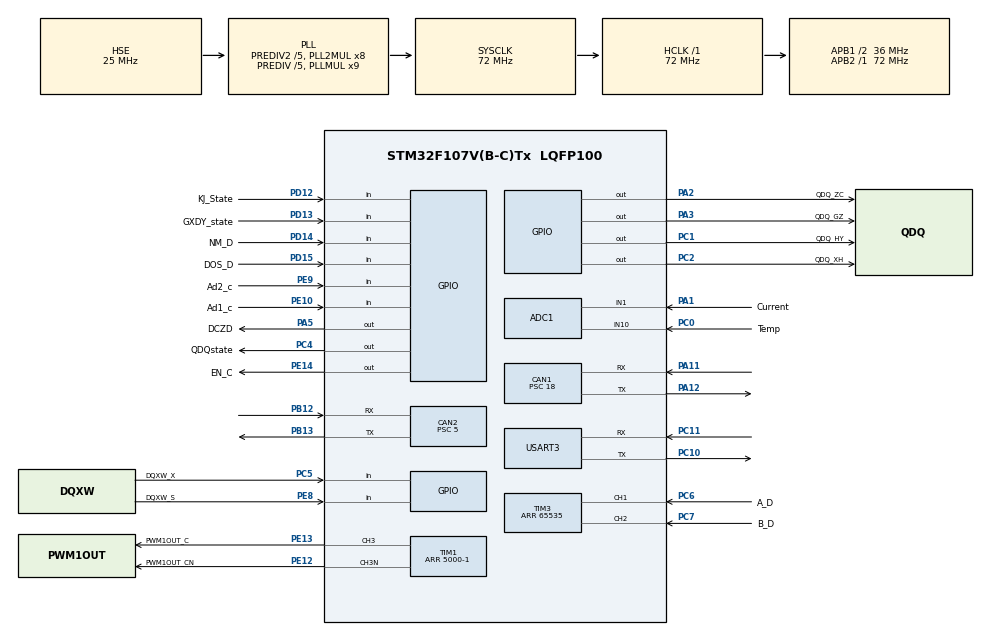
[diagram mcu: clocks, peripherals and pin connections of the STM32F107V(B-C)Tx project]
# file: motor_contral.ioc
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ADC1.Channel-0\#ChannelRegularConversion=ADC_CHANNEL_1
ADC1.Channel-1\#ChannelRegularConversion=ADC_CHANNEL_10
ADC1.ContinuousConvMode=ENABLE
ADC1.DataAlign=ADC_DATAALIGN_RIGHT
ADC1.DiscontinuousConvMode=DISABLE
ADC1.EnableAnalogWatchDog=false
ADC1.EnableRegularConversion=ENABLE
ADC1.ExternalTrigConvEdgeChoice=NONE
ADC1.InjNumberOfConversion=0
ADC1.NbrOfConversion=2
ADC1.NbrOfConversionFlag=1
ADC1.Rank-0\#ChannelRegularConversion=1
ADC1.Rank-1\#ChannelRegularConversion=2
ADC1.SamplingTime-0\#ChannelRegularConversion=ADC_SAMPLETIME_28CYCLES_5
ADC1.SamplingTime-1\#ChannelRegularConversion=ADC_SAMPLETIME_28CYCLES_5
ADC1.ScanConvMode=ADC_SCAN_ENABLE
ADC1.master=1
CAN1.BS1=CAN_BS1_6TQ
CAN1.BS2=CAN_BS2_1TQ
CAN1.CalculateTimeBit=4000
CAN1.CalculateTimeQuantum=500.0
CAN1.NART=DISABLE
CAN1.Prescaler=18
CAN1.SJW=CAN_SJW_1TQ
CAN2.BS1=CAN_BS1_5TQ
CAN2.BS2=CAN_BS2_3TQ
CAN2.CalculateTimeBit=1250
CAN2.CalculateTimeQuantum=138.88888888888889
CAN2.Prescaler=5
CAN2.SJW=CAN_SJW_2TQ
Dma.ADC1.0.Direction=DMA_PERIPH_TO_MEMORY
Dma.ADC1.0.Instance=DMA1_Channel1
Dma.ADC1.0.MemDataAlignment=DMA_MDATAALIGN_WORD
Dma.ADC1.0.MemInc=DMA_MINC_ENABLE
Dma.ADC1.0.Mode=DMA_CIRCULAR
Dma.ADC1.0.PeriphDataAlignment=DMA_PDATAALIGN_WORD
Dma.ADC1.0.PeriphInc=DMA_PINC_DISABLE
Dma.ADC1.0.Priority=DMA_PRIORITY_MEDIUM
Dma.Request0=ADC1
Mcu.Family=STM32F1
Mcu.Name=STM32F107V(B-C)Tx
Mcu.Package=LQFP100
NVIC.CAN1_RX0_IRQn=true\:0\:0\:false\:false\:true\:true
NVIC.CAN2_RX0_IRQn=true\:3\:0\:true\:false\:true\:true
NVIC.DMA1_Channel1_IRQn=true\:0\:0\:false\:false\:true\:true
NVIC.PriorityGroup=NVIC_PRIORITYGROUP_4
NVIC.TIM6_IRQn=true\:1\:0\:true\:false\:true\:true
NVIC.USART3_IRQn=true\:2\:0\:true\:false\:true\:true
OSC_IN.Mode=HSE-External-Oscillator
OSC_IN.Signal=RCC_OSC_IN
OSC_OUT.Mode=HSE-External-Oscillator
OSC_OUT.Signal=RCC_OSC_OUT
PA1.GPIO_Label=Current
PA1.Signal=ADCx_IN1
PA11.GPIO_PuPd=GPIO_PULLUP
PA11.Mode=Master
PA11.Signal=CAN1_RX
PA12.Mode=Master
PA12.Signal=CAN1_TX
PA13.Mode=JTAG_4_pins
PA13.Signal=SYS_JTMS-SWDIO
PA14.Mode=JTAG_4_pins
PA14.Signal=SYS_JTCK-SWCLK
PA15.Mode=JTAG_4_pins
PA15.Signal=SYS_JTDI
PA2.GPIO_Label=QDQ_ZC
PA2.Signal=GPIO_Output
PA3.GPIO_Label=QDQ_GZ
PA3.GPIO_Speed=GPIO_SPEED_FREQ_MEDIUM
PA3.Signal=GPIO_Output
PA5.GPIO_Label=DCZD
PA5.GPIO_Speed=GPIO_SPEED_FREQ_MEDIUM
PA5.Signal=GPIO_Output
PB12.GPIO_PuPd=GPIO_PULLUP
PB12.Mode=Slave
PB12.Signal=CAN2_RX
PB13.Mode=Slave
PB13.Signal=CAN2_TX
PB3.Mode=JTAG_4_pins
PB3.Signal=SYS_JTDO
PC0.GPIO_Label=Temp
PC0.Signal=ADCx_IN10
PC1.GPIO_Label=QDQ_HY
PC1.Signal=GPIO_Output
PC10.Mode=Asynchronous
PC10.Signal=USART3_TX
PC11.Mode=Asynchronous
PC11.Signal=USART3_RX
PC2.GPIO_Label=QDQ_XH
PC2.Signal=GPIO_Output
PC4.GPIO_Label=QDQstate
PC4.GPIO_Speed=GPIO_SPEED_FREQ_MEDIUM
PC4.Signal=GPIO_Output
PC5.GPIO_Label=DQXW_X
PC5.Signal=GPIO_Input
PC6.GPIO_Label=A_D
PC6.Signal=S_TIM3_CH1
PC7.GPIO_Label=B_D
PC7.Signal=S_TIM3_CH2
PD12.GPIO_Label=KJ_State
PD12.Signal=GPIO_Input
PD13.GPIO_Label=GXDY_state
PD13.Signal=GPIO_Input
PD14.GPIO_Label=NM_D
PD14.Signal=GPIO_Input
PD15.GPIO_Label=DOS_D
PD15.Signal=GPIO_Input
PE10.GPIO_Label=Ad1_c
PE10.Signal=GPIO_Input
PE12.GPIO_Label=PWM1OUT_CN
PE12.GPIO_Speed=GPIO_SPEED_FREQ_HIGH
PE12.Mode=PWM Generation3 CH3 CH3N
PE12.Signal=TIM1_CH3N
PE13.GPIO_Label=PWM1OUT_C
PE13.GPIO_Speed=GPIO_SPEED_FREQ_HIGH
PE13.Signal=S_TIM1_CH3
PE14.GPIO_Label=EN_C
PE14.GPIO_Speed=GPIO_SPEED_FREQ_MEDIUM
PE14.Signal=GPIO_Output
PE8.GPIO_Label=DQXW_S
PE8.Signal=GPIO_Input
PE9.GPIO_Label=Ad2_c
PE9.Signal=GPIO_Input
ProjectManager.HeapSize=0x200
ProjectManager.StackSize=0x400
ProjectManager.TargetToolchain=EWARM
RCC.ADCPresc=RCC_ADCPCLK2_DIV6
RCC.AHBFreq_Value=72000000
RCC.APB1CLKDivider=RCC_HCLK_DIV2
RCC.APB1Freq_Value=36000000
RCC.APB1TimFreq_Value=72000000
RCC.APB2Freq_Value=72000000
RCC.APB2TimFreq_Value=72000000
RCC.HCLKFreq_Value=72000000
RCC.HSEDivPLL=RCC_HSE_PREDIV_DIV5
RCC.HSE_VALUE=25000000
RCC.PLLMUL=RCC_PLL_MUL9
RCC.PLLSourceVirtual=RCC_PLLSOURCE_HSE
RCC.Prediv1Source=RCC_PREDIV1_SOURCE_PLL2
RCC.Prediv2=RCC_HSE_PREDIV2_DIV5
RCC.SYSCLKFreq_VALUE=72000000
RCC.SYSCLKSource=RCC_SYSCLKSOURCE_PLLCLK
RCC.USBFreq_Value=48000000
SH.ADCx_IN1.0=ADC1_IN1,IN1
SH.ADCx_IN10.0=ADC1_IN10,IN10
SH.S_TIM1_CH3.0=TIM1_CH3,PWM Generation3 CH3 CH3N
SH.S_TIM3_CH1.0=TIM3_CH1,Encoder_Interface
SH.S_TIM3_CH2.0=TIM3_CH2,Encoder_Interface
TIM1.AutomaticOutput=TIM_AUTOMATICOUTPUT_ENABLE
TIM1.Channel-PWM\ Generation3\ CH3\ CH3N=TIM_CHANNEL_3
TIM1.DeadTime=40
TIM1.LockLevel=TIM_LOCKLEVEL_1
TIM1.OCIdleState_3=TIM_OCIDLESTATE_RESET
TIM1.OCMode_PWM-PWM\ Generation3\ CH3\ CH3N=TIM_OCMODE_PWM2
TIM1.OffStateIDLEMode=TIM_OSSI_ENABLE
TIM1.OffStateRunMode=TIM_OSSR_ENABLE
TIM1.Period=5000-1
TIM1.Pulse-PWM\ Generation3\ CH3\ CH3N=2500
TIM3.EncoderMode=TIM_ENCODERMODE_TI12
TIM3.IC1Filter=8
TIM3.IC2Filter=8
TIM3.Period=65535
TIM6.Period=10
TIM6.Prescaler=7200-1
USART3.VirtualMode=VM_ASYNC
VP_TIM1_VS_ClockSourceINT.Mode=Internal
VP_TIM6_VS_ClockSourceINT.Mode=Enable_Timer
board=motor_contral

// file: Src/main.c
/**
  ******************************************************************************
  * File Name          : main.c
  * Description        : Main program body
  ******************************************************************************
  *
  * COPYRIGHT(c) 2016 STMicroelectronics
  *
  * Redistribution and use in source and binary forms, with or without modification,
  * are permitted provided that the following conditions are met:
  *   1. Redistributions of source code must retain the above copyright notice,
  *      this list of conditions and the following disclaimer.
  *   2. Redistributions in binary form must reproduce the above copyright notice,
  *      this list of conditions and the following disclaimer in the documentation
  *      and/or other materials provided with the distribution.
  *   3. Neither the name of STMicroelectronics nor the names of its contributors
  *      may be used to endorse or promote products derived from this software
  *      without specific prior written permission.
  *
  * THIS SOFTWARE IS PROVIDED BY THE COPYRIGHT HOLDERS AND CONTRIBUTORS "AS IS"
  * AND ANY EXPRESS OR IMPLIED WARRANTIES, INCLUDING, BUT NOT LIMITED TO, THE
  * IMPLIED WARRANTIES OF MERCHANTABILITY AND FITNESS FOR A PARTICULAR PURPOSE ARE
  * DISCLAIMED. IN NO EVENT SHALL THE COPYRIGHT HOLDER OR CONTRIBUTORS BE LIABLE
  * FOR ANY DIRECT, INDIRECT, INCIDENTAL, SPECIAL, EXEMPLARY, OR CONSEQUENTIAL
  * DAMAGES (INCLUDING, BUT NOT LIMITED TO, PROCUREMENT OF SUBSTITUTE GOODS OR
  * SERVICES; LOSS OF USE, DATA, OR PROFITS; OR BUSINESS INTERRUPTION) HOWEVER
  * CAUSED AND ON ANY THEORY OF LIABILITY, WHETHER IN CONTRACT, STRICT LIABILITY,
  * OR TORT (INCLUDING NEGLIGENCE OR OTHERWISE) ARISING IN ANY WAY OUT OF THE USE
  * OF THIS SOFTWARE, EVEN IF ADVISED OF THE POSSIBILITY OF SUCH DAMAGE.
  *
  ******************************************************************************
  */
#include "stm32f1xx_hal.h"

/* USER CODE BEGIN Includes */

#include "tim.h"
#include "adc.h"
#include "can.h"
#include "usart.h"
#include "user.h"
#include "flash.h"

#include "motor.h"
#include "motor_private.h"
/* USER CODE END Includes */

ADC_HandleTypeDef hadc1;
DMA_HandleTypeDef hdma_adc1;

CAN_HandleTypeDef hcan1;
CAN_HandleTypeDef hcan2;

TIM_HandleTypeDef htim1;
TIM_HandleTypeDef htim3;
TIM_HandleTypeDef htim6;

UART_HandleTypeDef huart3;

/* USER CODE BEGIN PV */
/* Private variables ---------------------------------------------------------*/
uint16_t PWMOUT=2500;
int32_t  POSITION;
int32_t  SGWY;
uint8_t  CNM = 0;
uint8_t  Big_T_Count = 0;
uint8_t  Fault_Upgrade_Count = 0;
uint8_t  Alarm_Upgrade_Count = 0;
uint8_t  Upgrade_Count = 1;

int32_t A=0;//电流
uint8_t B=0;//温度

System_Angle_ErrorTypeDef            ENC_SPEED;
System_Angle_ErrorTypeDef            ENC_POSITION;
System_PWM_TypeDef                   Dspace_PWM;

extern uint8_t WorkingMode;
extern uint8_t Test_Mode;
extern uint8_t Showing_Angle;            //检视模式幅值
extern uint8_t Showing_T;                //检视模式周期
extern uint8_t Electronic_Limit_Touch;   //是否检测过限位 0为检测过 1检测过上限位 2检测过下限位
/* USER CODE END PV */

void SystemClock_Config(void);
void Error_Handler(void);
static void MX_GPIO_Init(void);
static void MX_DMA_Init(void);
static void MX_ADC1_Init(void);
static void MX_CAN1_Init(void);
static void MX_CAN2_Init(void);
static void MX_TIM1_Init(void);
static void MX_TIM3_Init(void);
static void MX_USART3_UART_Init(void);
static void MX_TIM6_Init(void);

void HAL_TIM_MspPostInit(TIM_HandleTypeDef *htim);

/* USER CODE BEGIN PFP */
/* Private function prototypes -----------------------------------------------*/

/* USER CODE END PFP */

int main(void)
{

  /* MCU Configuration----------------------------------------------------------*/

  /* Reset of all peripherals, Initializes the Flash interface and the Systick. */
  HAL_Init();

  /* Configure the system clock */
  SystemClock_Config();

  /* Initialize all configured peripherals */
  MX_GPIO_Init();
  MX_DMA_Init();
  MX_ADC1_Init();
  MX_CAN1_Init();
  MX_CAN2_Init();
  MX_TIM1_Init();
  MX_TIM3_Init();
  MX_USART3_UART_Init();
  MX_TIM6_Init();

  /* USER CODE BEGIN 2 */
  /***************************系统时钟******************************************/
  SysTick_Init();

   /**************高电磁制动打开,低电磁制动抱死*********************************/
 HAL_GPIO_WritePin(GPIOA,DCZD_Pin, GPIO_PIN_SET);

 /*********************编码器*************************************************/
  /******此处顺序不要改动，先开启定时器，初始化旋变芯片，后开通编码器接口，不然数据有错********/
  HAL_TIM_Base_Start_IT(&htim6);                                              //开启定时器中断
  ENC_Init( );                                                                 //旋变初始化
  HAL_TIM_Base_Stop_IT(&htim6);                                                //关闭定时器中断
  HAL_TIM_Encoder_Start(&htim3, TIM_CHANNEL_ALL);                              //开启编码器

/*****************驱动器选型***************************************************/

    Motrol_Version_Init( );

/************************ADC(DMA)*********************************************/
  HAL_ADC_Start_DMA(&hadc1, &ADC_Receive[0][0], 120);    //开启ADC(DMA)
/******此处顺序不要改动，先开启定时器，初始化旋变芯片，后开通编码器接口，不然数据有错********/
/*************************开启PWM互补通道***************************************/
  HAL_TIM_PWM_Start(&htim1,TIM_CHANNEL_3);
  HAL_TIMEx_PWMN_Start(&htim1,TIM_CHANNEL_3);
/***************************电机失能*******************************************/
  HAL_GPIO_WritePin(EN_C_GPIO_Port, EN_C_Pin, GPIO_PIN_SET);

/***************************关键功能初始化完成，驱动器正常，引脚拉高*******************************************/
    HAL_GPIO_WritePin(GPIOC, QDQstate_Pin, GPIO_PIN_RESET);

/*******************************CAN*******************************************/
 USER_CanMsg_Init(&hcan1,&TxMessage1,&RxMessage1);                           //CAN1初始化：定义CAN1结构体变量
 USER_CanMsg_Init(&hcan2,&TxMessage2,&RxMessage2);                          //CAN2初始化：定义CAN2结构体变量
 USER_CanFilter_Init(&hcan1);                                              //设置CAN1滤波器（注：若有CAN2，需在CAN1滤波器函数体内添加）

  if (HAL_CAN_Receive_IT(&hcan1, CAN_FIFO0) != HAL_OK)
   { Flag_Error_Can1_R=0;  Error_Handler( ); }  //开启CAN1的接收中断 默认1正常，0错误
  if (HAL_CAN_Receive_IT(&hcan2, CAN_FIFO0) != HAL_OK)
  { Flag_Error_Can2_R=0;  Error_Handler( ); }  //开启CAN2的接收中断 默认1正常，0错误

/*******************************USART*******************************************/
  if (HAL_UART_Receive_IT(&huart3,RxData,1) != HAL_OK)
   { Flag_Error_Can2_R=0;  Error_Handler( ); }  //开启CUSART3的接收中断,默认1正常，0错误

  /***************************电机shi能*******************************************/
 HAL_GPIO_WritePin(GPIOA,DCZD_Pin, GPIO_PIN_RESET);
 HAL_GPIO_WritePin(EN_C_GPIO_Port, EN_C_Pin, GPIO_PIN_RESET);
// HAL_GPIO_WritePin(GPIOB, GPIO_PIN_5, GPIO_PIN_SET);
// HAL_GPIO_WritePin(GPIOA, GPIO_PIN_4, GPIO_PIN_SET);

motor_initialize( );
ENC_Zero_Init();
System_State.Data[0] = 0xff;
System_State.Data[1] = 0xff;
System_State_Last.Data[0] = 0xff;
System_State_Last.Data[1] = 0xff;
Dspace_PWM.Value = 2500;
  /* USER CODE END 2 */

  /* Infinite loop */
  /* USER CODE BEGIN WHILE */
  SysTick_Start(  );

  while (1)
  {
  /* USER CODE END WHILE */

  /* USER CODE BEGIN 3 */
/*==============================================================================
*****************************开始***********************************************
==============================================================================*/

/*==============================================================================
*****************************运行函数*******************************************
=========================================================================******/
//********************************PWM*******************************************/
//   TIM1->CCR3=PWMOUT;
/********************************编码器*******************************************/
    HAL_ADC_Start_DMA(&hadc1, &ADC_Receive[0][0], 120);                       //开启ADC(DMA)
    ENC_Position(  );

 /*=============================================================================
*****************************输入端口*******************************************
==============================================================================*/
/*****************系统指令输入****************************/
    motor_U.System_Order =  SYS_Order_Flag;
    motor_U.Working_Mode = WorkingMode;           //工作模式选择
    motor_U.Test_Mode = Test_Mode;                //调试模式选择
    motor_U.Showing_Angle = Showing_Angle;        //检视模式幅值
    motor_U.Showing_T = Showing_T;                //检视模式周期
    motor_U.Gyroscope_Choose = Gyroscope_Choose;  //陀螺仪信号源选择

/*****************片选信号****************************/
   motor_U.Motor_Num    =  Motor_Num;

/*****************电流采样输入****************************/
   motor_U.Cur_In       =  Current;
  // motor_U.Cur_In       =  2600;
/*****************温度采样输入****************************/
   motor_U.Temp_In      =  Temp;
//   motor_U.Temp_In       =  B;
/*****************上下限位开关输入****************************/
//  if(HAL_GPIO_ReadPin(GPIOE, DQXW_S_Pin)==GPIO_PIN_SET)
//  {
//    motor_U.Up_Limit     =  1;
//    }
//  if(HAL_GPIO_ReadPin(GPIOE, DQXW_S_Pin)==GPIO_PIN_RESET)
//  {
//    motor_U.Up_Limit     =  0;
//   }
//  if(HAL_GPIO_ReadPin(DQXW_X_GPIO_Port,DQXW_X_Pin)==GPIO_PIN_SET)
//   {
//   motor_U.Down_Limit   =   1;
//    }
//  if(HAL_GPIO_ReadPin(DQXW_X_GPIO_Port,DQXW_X_Pin)==GPIO_PIN_RESET)
//   {
//   motor_U.Down_Limit   =   0;
//    }
    if(HAL_GPIO_ReadPin(GPIOE, DQXW_S_Pin)==GPIO_PIN_SET)
    {
    motor_U.Up_Limit   =  1;
    }
    if(HAL_GPIO_ReadPin(GPIOE, DQXW_S_Pin)==GPIO_PIN_RESET)
    {
    motor_U.Up_Limit   =  0;
    }
    if(HAL_GPIO_ReadPin(DQXW_X_GPIO_Port,DQXW_X_Pin)==GPIO_PIN_SET)
    {
    motor_U.Down_Limit   =   1;
    }
    if(HAL_GPIO_ReadPin(DQXW_X_GPIO_Port,DQXW_X_Pin)==GPIO_PIN_RESET)
    {
    motor_U.Down_Limit   =   0;
    }
    /*********测试电缸上下电器限位的位置是否有改变2016/11/25********/
   if((motor_U.Up_Limit==0)&&(B==0))
   { A=PositionTemp2;
    motor_U.Encode_sxwPos_Motor =  A-586183/2 ;    //586183/2折算为 5度
     B=1;}
   else
   { B=0;}

/*****************电子限位角度更新****************************/
    //Electronic_Limit_refresh(motor_U.Up_Limit,motor_U.Down_Limit);

 /*****************惯性单元状态引脚输入****************************/
  if(HAL_GPIO_ReadPin(GPIOD,GXDY_state_Pin)==GPIO_PIN_SET)
   {
   motor_U.GXDY_State   =   1;
    }
  if(HAL_GPIO_ReadPin(GPIOD,GXDY_state_Pin)==GPIO_PIN_RESET)
   {
   motor_U.GXDY_State   =   0;
    }

  /*******************开机状态引脚输入(加到开关机判断)****************************/

  /*****************惯性单元中断输入****************************/
 //  motor_U.GXDY_IT_In   =  1 ; //临时测试用

  if ((Can2_R1==1)&&(Can2_R2==1))  //正常用
  {
   motor_U.GXDY_IT_In   =  1 ;
   Can2_R2              =  0 ;
  }
  else
  {
   motor_U.GXDY_IT_In   =  0 ;
  }

/*****************角度输入***********************************/
   motor_U.JD_In        =  Gyroscope_Angle.Value;

   motor_U.YJ_In        =  System_Elevation.Value;

  // motor_U.YJ_In        =  0;

/*****************编码器输入****************************/
   motor_U.Encode_Sp    =  MyTemp;
   motor_U.Encode_Pos_kj = PositionTemp2;
   motor_U.Encode_Pos_Zero_Average = ENC_position_zero_average.Value;

/***************丝杆位移(需具体处理)***********************/

   motor_U.SGWY_In    =  SGWY_Inport.Value;

/*==============================================================================
*****************************Simulink程序***************************************
==============================================================================*/
  motor_step( );

  if(A<motor_B.Motor_XHZY.Product&&((int)motor_B.Motor_XHZY.Product!=0))
    A=(int)motor_B.Motor_XHZY.Product ;

/*==============================================================================
*****************************输出端口*******************************************
==============================================================================*/
/*****************初始化结果****************************/
  Result_Handle.Init_Result        =   motor_Y.Ini_Result;
//  if(Result_Handle.Init_Result == 1) SYS_Order_Flag = 2;

 /*****************开关机结果****************************/
  Result_Handle.Start_Stop_Result  =   motor_Y.Open_Result;

 /*************************输出故障标识*****************************************/
  System_State.Bit.Trouble_Enc              =   motor_Y.Flag_Enc_Error;
  System_State.Bit.Angle_Up                 =   motor_Y.Flag_Up_GZ_limit;
  System_State.Bit.Angle_Down               =   motor_Y.Flag_Down_GZ_limit;
  System_State.Bit.Current_Fualt            =   motor_Y.Flag_GZ_Cur;
  System_State.Bit.Block_Motor              =   motor_Y.Flag_Motor_Error;
//  System_State.Bit.Over_Temp_Down         =   motor_Y.Flag_Temp_Down;
  System_State.Bit.Interrupt_Communication  =   motor_Y.Flag_GXDY_IT;

 /*************************输出警告标识*****************************************/
  System_State.Bit.Over_Electricity   =   motor_Y.Flag_Cur;
  System_State.Bit.Over_Temp_Up       =   motor_Y.Flag_Temp_Up;
  System_State.Bit.Abnormal_Data      =   motor_Y.Flag_GXDY_Error;
  System_State.Bit.Over_Angle_XXW     =   motor_Y.Flag_Down_limit;
  System_State.Bit.Over_Angle_SXW     =   motor_Y.Flag_Up_limit;
  System_State.Bit.Over_Angle_Error   =   motor_Y.Flag_AngleError;

/*************************输出I/O口控制*****************************************/
  /********DCZD引脚控制***********/
  if(motor_Y.DCZD == 1)
  {
    HAL_GPIO_WritePin(GPIOA, DCZD_Pin, GPIO_PIN_SET);
  }
  if(motor_Y.DCZD == 0)
     {
    HAL_GPIO_WritePin(GPIOA, DCZD_Pin, GPIO_PIN_RESET);
  }
   /********QDQ_XH,QDQ_HY引脚控制运行指示灯LED***********/
  /********QDQ_XH,QDQ_HY引脚控制LED,都低橘黄色***********/
        /********QDQ_HY低，LED红色***********/
        /********QDQ_XH低，LED绿色***********/
   if(motor_Y.QDQ_XH == 1)
   {
   HAL_GPIO_WritePin(GPIOC,QDQ_XH_Pin, GPIO_PIN_SET);
   }
  else
   {
   HAL_GPIO_WritePin(GPIOC,QDQ_XH_Pin, GPIO_PIN_RESET);
   }
   if(motor_Y.QDQ_HY == 1)
  {
   HAL_GPIO_WritePin(GPIOC, QDQ_HY_Pin, GPIO_PIN_SET);
   }
  else
  {
   HAL_GPIO_WritePin(GPIOC, QDQ_HY_Pin, GPIO_PIN_RESET);
  }

   /********EN_C引脚控制***********/
  if(motor_Y.Motor_En == 1)
  {
  HAL_GPIO_WritePin(EN_C_GPIO_Port, EN_C_Pin, GPIO_PIN_SET);
  }
    if(motor_Y.Motor_En == 0)
  {
  HAL_GPIO_WritePin(EN_C_GPIO_Port, EN_C_Pin, GPIO_PIN_RESET);
  }

/*********************输出驱动器状态标识*****************************/
  /**********************故障主动上报******************************/

     /**************主动上报信息(需具体处理)***************/
  // Alarm_Cunt   =   motor_Y.Alarm_Cunt;

/***************Stateflow中设置状态，区分报警和故障************/
//   switch( motor_Y.QDQ_BJ)
//   {
//     case 0x02 :
//         if( motor_Y.Alarm_Cunt == 2)
//         {
//           USER_Alarm_State( &hcan1,  System_State);
//           HAL_GPIO_WritePin(GPIOC, QDQstate_Pin, GPIO_PIN_RESET);
//         }
//     break;
//     case 0x03 :
//         if( motor_Y.Alarm_Cunt == 3)
//         {
//           USER_Fault_State( &hcan1,  System_State);
//            HAL_GPIO_WritePin(GPIOC, QDQstate_Pin, GPIO_PIN_SET);
//         }
//     break;
//     default:
//          HAL_GPIO_WritePin(GPIOC, QDQstate_Pin, GPIO_PIN_RESET);
//     break;
//     }
if(Big_T_Count == 0)
{
    if(System_State.Data[0] != System_State_Last.Data[0])
    {
        USER_Fault_State( &hcan1,System_State );
        Fault_Upgrade_Count++;
        if(Fault_Upgrade_Count == Upgrade_Count)
        {
            System_State_Last.Data[0] = System_State.Data[0];
            Fault_Upgrade_Count = 0;
        }
    }
    if(System_State.Data[1] != System_State_Last.Data[1])
    {
        USER_Alarm_State( &hcan1,System_State );
        Alarm_Upgrade_Count++;
        if(Alarm_Upgrade_Count == Upgrade_Count)
        {
            System_State_Last.Data[1] = System_State.Data[1];
            Alarm_Upgrade_Count = 0;
        }
    }
    if(System_State.Data[0] == 0xff && System_State.Data[1] == 0xff) HAL_GPIO_WritePin(GPIOC, QDQstate_Pin, GPIO_PIN_RESET);
    else HAL_GPIO_WritePin(GPIOC, QDQstate_Pin, GPIO_PIN_SET);
}

   /**************输出角度信息***************/
  /********角度信息**********/
  System_Angle.Value = -motor_Y.JD_Out;

  /********误差信息**********/
  System_Error.Value = -motor_Y.JD_Error;

 /**************输出PWM**************/
//    Over_current_protect(Current);
    Limit_Protect(motor_U.Up_Limit,motor_U.Down_Limit);
    if(motor_Y.dSpace_Init == 1) TIM1->CCR3 = Dspace_PWM.Value;
    else TIM1->CCR3 = motor_Y.PWMOUT;

   /**************输出位置信息(需具体处理)***************/
    POSITION  =  motor_Y.Encode_Pos;
//    ENC_SPEED.Value = MyTemp;
//    ENC_POSITION.Value = POSITION;
//    SGWY      =  motor_Y.SGWY_Out;
    XHZY_SGWY.Value   =  motor_Y.SGWY_Out;
//    System_Health_check();

 /*****************CAN1主动发送************************/
    if(Test_Mode == 2)
        if(motor_U.Up_Limit == 0)
        {
            Test_Mode = 0;   //恢复调试状态
            Electronic_Limit_Up.Data[0] = System_Angle.Data[0];
            Electronic_Limit_Up.Data[1] = System_Angle.Data[1];
            Electronic_Limit_Up.Data[2] = System_Angle.Data[2];
            Electronic_Limit_Up.Data[3] = System_Angle.Data[3];
            Electronic_Limit_Touch = 1;
//            USER_SystemAngle_Result( &hcan1 );
//            USER_System_ElectronicLimit_Up_Report( &hcan1 );
        }
    if(Test_Mode == 3)
        if(motor_U.Down_Limit == 0)
        {
            Test_Mode = 0;   //恢复调试状态
            Electronic_Limit_Down.Data[0] = System_Angle.Data[0];
            Electronic_Limit_Down.Data[1] = System_Angle.Data[1];
            Electronic_Limit_Down.Data[2] = System_Angle.Data[2];
            Electronic_Limit_Down.Data[3] = System_Angle.Data[3];
            Electronic_Limit_Touch = 2;
//            USER_SystemAngle_Result( &hcan1 );
//            USER_System_ElectronicLimit_Down_Report( &hcan1 );
        }

//    if(CNM == 0)
//    {
//        if(Test_Mode == 5 && SYS_Order_Flag ==2)
//        {
//            USER_G_Init( &hcan1 );
//            CNM = 1;
//        }
//    }
//    else if(CNM == 1)
//    {
//        if(motor_B.dSpace_Init == 1)
//        {
//            USER_G_Start_Stop( &hcan1,1 );
//            CNM = 2;
//        }
//    }
//    else
//    {
//        if(motor_B.dSpace_Init == 0)
//        {
//            USER_G_Start_Stop( &hcan1,2 );
//            CNM = 1;
//        }
//    }

/*==============================================================================
*****************************结束***********************************************
==============================================================================*/
    Big_T_Count++;
    if(Big_T_Count == 5)
    {
//        USER_Gyroscope_SGWY_send(&hcan2);
        Big_T_Count = 0;
    }
    while(System_Count<=20);
    SysTick_Start(  );
  }

  /* USER CODE END 3 */

}

/** System Clock Configuration
*/
void SystemClock_Config(void)
{

  RCC_OscInitTypeDef RCC_OscInitStruct;
  RCC_ClkInitTypeDef RCC_ClkInitStruct;
  RCC_PeriphCLKInitTypeDef PeriphClkInit;

  RCC_OscInitStruct.OscillatorType = RCC_OSCILLATORTYPE_HSE;
  RCC_OscInitStruct.HSEState = RCC_HSE_ON;
  RCC_OscInitStruct.HSEPredivValue = RCC_HSE_PREDIV_DIV5;
  RCC_OscInitStruct.Prediv1Source = RCC_PREDIV1_SOURCE_PLL2;
  RCC_OscInitStruct.PLL.PLLState = RCC_PLL_ON;
  RCC_OscInitStruct.PLL.PLLSource = RCC_PLLSOURCE_HSE;
  RCC_OscInitStruct.PLL.PLLMUL = RCC_PLL_MUL9;
  RCC_OscInitStruct.PLL2.PLL2State = RCC_PLL2_ON;
  RCC_OscInitStruct.PLL2.PLL2MUL = RCC_PLL2_MUL8;
  RCC_OscInitStruct.PLL2.HSEPrediv2Value = RCC_HSE_PREDIV2_DIV5;
  if (HAL_RCC_OscConfig(&RCC_OscInitStruct) != HAL_OK)
  {
    Error_Handler();
  }

  RCC_ClkInitStruct.ClockType = RCC_CLOCKTYPE_HCLK|RCC_CLOCKTYPE_SYSCLK
                              |RCC_CLOCKTYPE_PCLK1|RCC_CLOCKTYPE_PCLK2;
  RCC_ClkInitStruct.SYSCLKSource = RCC_SYSCLKSOURCE_PLLCLK;
  RCC_ClkInitStruct.AHBCLKDivider = RCC_SYSCLK_DIV1;
  RCC_ClkInitStruct.APB1CLKDivider = RCC_HCLK_DIV2;
  RCC_ClkInitStruct.APB2CLKDivider = RCC_HCLK_DIV1;
  if (HAL_RCC_ClockConfig(&RCC_ClkInitStruct, FLASH_LATENCY_2) != HAL_OK)
  {
    Error_Handler();
  }

  PeriphClkInit.PeriphClockSelection = RCC_PERIPHCLK_ADC;
  PeriphClkInit.AdcClockSelection = RCC_ADCPCLK2_DIV6;
  if (HAL_RCCEx_PeriphCLKConfig(&PeriphClkInit) != HAL_OK)
  {
    Error_Handler();
  }

  HAL_SYSTICK_Config(HAL_RCC_GetHCLKFreq()/1000);

  HAL_SYSTICK_CLKSourceConfig(SYSTICK_CLKSOURCE_HCLK);

  __HAL_RCC_PLLI2S_ENABLE();

  /* SysTick_IRQn interrupt configuration */
  HAL_NVIC_SetPriority(SysTick_IRQn, 0, 0);
}

/* ADC1 init function */
static void MX_ADC1_Init(void)
{

  ADC_ChannelConfTypeDef sConfig;

    /**Common config
    */
  hadc1.Instance = ADC1;
  hadc1.Init.ScanConvMode = ADC_SCAN_ENABLE;
  hadc1.Init.ContinuousConvMode = ENABLE;
  hadc1.Init.DiscontinuousConvMode = DISABLE;
  hadc1.Init.ExternalTrigConv = ADC_SOFTWARE_START;
  hadc1.Init.DataAlign = ADC_DATAALIGN_RIGHT;
  hadc1.Init.NbrOfConversion = 2;
  if (HAL_ADC_Init(&hadc1) != HAL_OK)
  {
    Error_Handler();
  }

    /**Configure Regular Channel
    */
  sConfig.Channel = ADC_CHANNEL_1;
  sConfig.Rank = 1;
  sConfig.SamplingTime = ADC_SAMPLETIME_28CYCLES_5;
  if (HAL_ADC_ConfigChannel(&hadc1, &sConfig) != HAL_OK)
  {
    Error_Handler();
  }

    /**Configure Regular Channel
    */
  sConfig.Channel = ADC_CHANNEL_10;
  sConfig.Rank = 2;
  if (HAL_ADC_ConfigChannel(&hadc1, &sConfig) != HAL_OK)
  {
    Error_Handler();
  }

}

/* CAN1 init function */
static void MX_CAN1_Init(void)
{
    hcan1.Instance = CAN1;
    hcan1.Init.Prescaler = 18;
    hcan1.Init.Mode = CAN_MODE_NORMAL;
    hcan1.Init.SJW = CAN_SJW_1TQ;
    hcan1.Init.BS1 = CAN_BS1_6TQ;
    hcan1.Init.BS2 = CAN_BS2_1TQ;
    hcan1.Init.TTCM = DISABLE;
    hcan1.Init.ABOM = DISABLE;
    hcan1.Init.AWUM = DISABLE;
    hcan1.Init.NART = DISABLE;
    hcan1.Init.RFLM = DISABLE;
    hcan1.Init.TXFP = DISABLE;
    if(HAL_CAN_Init(&hcan1) != HAL_OK)
    {
        Error_Handler();
    }
}

/* CAN2 init function */
static void MX_CAN2_Init(void)
{

  hcan2.Instance = CAN2;
  hcan2.Init.Prescaler = 5;
  hcan2.Init.Mode = CAN_MODE_NORMAL;
  hcan2.Init.SJW = CAN_SJW_2TQ;
  hcan2.Init.BS1 = CAN_BS1_5TQ;
  hcan2.Init.BS2 = CAN_BS2_3TQ;
  hcan2.Init.TTCM = DISABLE;
  hcan2.Init.ABOM = DISABLE;
  hcan2.Init.AWUM = DISABLE;
  hcan2.Init.NART = DISABLE;
  hcan2.Init.RFLM = DISABLE;
  hcan2.Init.TXFP = DISABLE;
  if (HAL_CAN_Init(&hcan2) != HAL_OK)
  {
    Error_Handler();
  }

}

/* TIM1 init function */
static void MX_TIM1_Init(void)
{

  TIM_ClockConfigTypeDef sClockSourceConfig;
  TIM_MasterConfigTypeDef sMasterConfig;
  TIM_BreakDeadTimeConfigTypeDef sBreakDeadTimeConfig;
  TIM_OC_InitTypeDef sConfigOC;

  htim1.Instance = TIM1;
  htim1.Init.Prescaler = 0;
  htim1.Init.CounterMode = TIM_COUNTERMODE_UP;
  htim1.Init.Period = 5000-1;
  htim1.Init.ClockDivision = TIM_CLOCKDIVISION_DIV1;
  htim1.Init.RepetitionCounter = 0;
  if (HAL_TIM_Base_Init(&htim1) != HAL_OK)
  {
    Error_Handler();
  }

  sClockSourceConfig.ClockSource = TIM_CLOCKSOURCE_INTERNAL;
  if (HAL_TIM_ConfigClockSource(&htim1, &sClockSourceConfig) != HAL_OK)
  {
    Error_Handler();
  }

  if (HAL_TIM_PWM_Init(&htim1) != HAL_OK)
  {
    Error_Handler();
  }

  sMasterConfig.MasterOutputTrigger = TIM_TRGO_RESET;
  sMasterConfig.MasterSlaveMode = TIM_MASTERSLAVEMODE_DISABLE;
  if (HAL_TIMEx_MasterConfigSynchronization(&htim1, &sMasterConfig) != HAL_OK)
  {
    Error_Handler();
  }

  sBreakDeadTimeConfig.OffStateRunMode = TIM_OSSR_ENABLE;
  sBreakDeadTimeConfig.OffStateIDLEMode = TIM_OSSI_ENABLE;
  sBreakDeadTimeConfig.LockLevel = TIM_LOCKLEVEL_1;
  sBreakDeadTimeConfig.DeadTime = 40;
  sBreakDeadTimeConfig.BreakState = TIM_BREAK_DISABLE;
  sBreakDeadTimeConfig.BreakPolarity = TIM_BREAKPOLARITY_HIGH;
  sBreakDeadTimeConfig.AutomaticOutput = TIM_AUTOMATICOUTPUT_ENABLE;
  if (HAL_TIMEx_ConfigBreakDeadTime(&htim1, &sBreakDeadTimeConfig) != HAL_OK)
  {
    Error_Handler();
  }

  sConfigOC.OCMode = TIM_OCMODE_PWM2;
  sConfigOC.Pulse = 2500;
  sConfigOC.OCPolarity = TIM_OCPOLARITY_HIGH;
  sConfigOC.OCNPolarity = TIM_OCNPOLARITY_HIGH;
  sConfigOC.OCFastMode = TIM_OCFAST_DISABLE;
  sConfigOC.OCIdleState = TIM_OCIDLESTATE_RESET;
  sConfigOC.OCNIdleState = TIM_OCNIDLESTATE_RESET;
  if (HAL_TIM_PWM_ConfigChannel(&htim1, &sConfigOC, TIM_CHANNEL_3) != HAL_OK)
  {
    Error_Handler();
  }

  HAL_TIM_MspPostInit(&htim1);

}

/* TIM3 init function */
static void MX_TIM3_Init(void)
{

  TIM_Encoder_InitTypeDef sConfig;
  TIM_MasterConfigTypeDef sMasterConfig;

  htim3.Instance = TIM3;
  htim3.Init.Prescaler = 0;
  htim3.Init.CounterMode = TIM_COUNTERMODE_UP;
  htim3.Init.Period = 65535;
  htim3.Init.ClockDivision = TIM_CLOCKDIVISION_DIV1;
  sConfig.EncoderMode = TIM_ENCODERMODE_TI12;
  sConfig.IC1Polarity = TIM_ICPOLARITY_RISING;
  sConfig.IC1Selection = TIM_ICSELECTION_DIRECTTI;
  sConfig.IC1Prescaler = TIM_ICPSC_DIV1;
  sConfig.IC1Filter = 8;
  sConfig.IC2Polarity = TIM_ICPOLARITY_RISING;
  sConfig.IC2Selection = TIM_ICSELECTION_DIRECTTI;
  sConfig.IC2Prescaler = TIM_ICPSC_DIV1;
  sConfig.IC2Filter = 8;
  if (HAL_TIM_Encoder_Init(&htim3, &sConfig) != HAL_OK)
  {
    Error_Handler();
  }

  sMasterConfig.MasterOutputTrigger = TIM_TRGO_RESET;
  sMasterConfig.MasterSlaveMode = TIM_MASTERSLAVEMODE_DISABLE;
  if (HAL_TIMEx_MasterConfigSynchronization(&htim3, &sMasterConfig) != HAL_OK)
  {
    Error_Handler();
  }

}

/* TIM6 init function */
static void MX_TIM6_Init(void)
{

  TIM_MasterConfigTypeDef sMasterConfig;

  htim6.Instance = TIM6;
  htim6.Init.Prescaler = 7200-1;
  htim6.Init.CounterMode = TIM_COUNTERMODE_UP;
  htim6.Init.Period = 10;
  if (HAL_TIM_Base_Init(&htim6) != HAL_OK)
  {
    Error_Handler();
  }

  sMasterConfig.MasterOutputTrigger = TIM_TRGO_RESET;
  sMasterConfig.MasterSlaveMode = TIM_MASTERSLAVEMODE_DISABLE;
  if (HAL_TIMEx_MasterConfigSynchronization(&htim6, &sMasterConfig) != HAL_OK)
  {
    Error_Handler();
  }

}

/* USART3 init function */
static void MX_USART3_UART_Init(void)
{

  huart3.Instance = USART3;
  huart3.Init.BaudRate = 115200;
  huart3.Init.WordLength = UART_WORDLENGTH_8B;
  huart3.Init.StopBits = UART_STOPBITS_1;
  huart3.Init.Parity = UART_PARITY_NONE;
  huart3.Init.Mode = UART_MODE_TX_RX;
  huart3.Init.HwFlowCtl = UART_HWCONTROL_NONE;
  huart3.Init.OverSampling = UART_OVERSAMPLING_16;
  if (HAL_UART_Init(&huart3) != HAL_OK)
  {
    Error_Handler();
  }

}

static void MX_DMA_Init(void)
{
  /* DMA controller clock enable */
  __HAL_RCC_DMA1_CLK_ENABLE();

  /* DMA interrupt init */
  /* DMA1_Channel1_IRQn interrupt configuration */
  HAL_NVIC_SetPriority(DMA1_Channel1_IRQn, 0, 0);
  HAL_NVIC_EnableIRQ(DMA1_Channel1_IRQn);

}

/** Configure pins as
        * Analog
        * Input
        * Output
        * EVENT_OUT
        * EXTI
        * Free pins are configured automatically as Analog (this feature is enabled through
        * the Code Generation settings)
*/
static void MX_GPIO_Init(void)
{

  GPIO_InitTypeDef GPIO_InitStruct;

  /* GPIO Ports Clock Enable */
  __HAL_RCC_GPIOE_CLK_ENABLE();
  __HAL_RCC_GPIOC_CLK_ENABLE();
  __HAL_RCC_GPIOA_CLK_ENABLE();
  __HAL_RCC_GPIOB_CLK_ENABLE();
  __HAL_RCC_GPIOD_CLK_ENABLE();

  /*Configure GPIO pins : PE2 PE3 PE4 PE5
                           PE6 PE7 PE11 PE15
                           PE0 PE1 */
  GPIO_InitStruct.Pin = GPIO_PIN_2|GPIO_PIN_3|GPIO_PIN_4|GPIO_PIN_5
                          |GPIO_PIN_6|GPIO_PIN_7|GPIO_PIN_11|GPIO_PIN_15
                          |GPIO_PIN_0|GPIO_PIN_1;
  GPIO_InitStruct.Mode = GPIO_MODE_ANALOG;
  HAL_GPIO_Init(GPIOE, &GPIO_InitStruct);

  /*Configure GPIO pins : PC13 PC14 PC15 PC3
                           PC8 PC9 PC12 */
  GPIO_InitStruct.Pin = GPIO_PIN_13|GPIO_PIN_14|GPIO_PIN_15|GPIO_PIN_3
                          |GPIO_PIN_8|GPIO_PIN_9|GPIO_PIN_12;
  GPIO_InitStruct.Mode = GPIO_MODE_ANALOG;
  HAL_GPIO_Init(GPIOC, &GPIO_InitStruct);

  /*Configure GPIO pins : QDQ_HY_Pin QDQ_XH_Pin */
  GPIO_InitStruct.Pin = QDQ_HY_Pin|QDQ_XH_Pin;
  GPIO_InitStruct.Mode = GPIO_MODE_OUTPUT_PP;
  GPIO_InitStruct.Speed = GPIO_SPEED_FREQ_LOW;
  HAL_GPIO_Init(GPIOC, &GPIO_InitStruct);

  /*Configure GPIO pins : PA0 PA4 PA6 PA7
                           PA8 PA9 PA10 */
  GPIO_InitStruct.Pin = GPIO_PIN_0|GPIO_PIN_4|GPIO_PIN_6|GPIO_PIN_7
                          |GPIO_PIN_8|GPIO_PIN_9|GPIO_PIN_10;
  GPIO_InitStruct.Mode = GPIO_MODE_ANALOG;
  HAL_GPIO_Init(GPIOA, &GPIO_InitStruct);

  /*Configure GPIO pin : QDQ_ZC_Pin */
  GPIO_InitStruct.Pin = QDQ_ZC_Pin;
  GPIO_InitStruct.Mode = GPIO_MODE_OUTPUT_PP;
  GPIO_InitStruct.Speed = GPIO_SPEED_FREQ_LOW;
  HAL_GPIO_Init(QDQ_ZC_GPIO_Port, &GPIO_InitStruct);

  /*Configure GPIO pins : QDQ_GZ_Pin DCZD_Pin */
  GPIO_InitStruct.Pin = QDQ_GZ_Pin|DCZD_Pin;
  GPIO_InitStruct.Mode = GPIO_MODE_OUTPUT_PP;
  GPIO_InitStruct.Speed = GPIO_SPEED_FREQ_MEDIUM;
  HAL_GPIO_Init(GPIOA, &GPIO_InitStruct);

  /*Configure GPIO pin : QDQstate_Pin */
  GPIO_InitStruct.Pin = QDQstate_Pin;
  GPIO_InitStruct.Mode = GPIO_MODE_OUTPUT_PP;
  GPIO_InitStruct.Speed = GPIO_SPEED_FREQ_MEDIUM;
  HAL_GPIO_Init(QDQstate_GPIO_Port, &GPIO_InitStruct);

  /*Configure GPIO pin : DQXW_X_Pin */
  GPIO_InitStruct.Pin = DQXW_X_Pin;
  GPIO_InitStruct.Mode = GPIO_MODE_INPUT;
  GPIO_InitStruct.Pull = GPIO_NOPULL;
  HAL_GPIO_Init(DQXW_X_GPIO_Port, &GPIO_InitStruct);

  /*Configure GPIO pins : PB0 PB1 PB2 PB10
                           PB11 PB14 PB15 PB4
                           PB5 PB6 PB7 PB8
                           PB9 */
  GPIO_InitStruct.Pin = GPIO_PIN_0|GPIO_PIN_1|GPIO_PIN_2|GPIO_PIN_10
                          |GPIO_PIN_11|GPIO_PIN_14|GPIO_PIN_15|GPIO_PIN_4
                          |GPIO_PIN_5|GPIO_PIN_6|GPIO_PIN_7|GPIO_PIN_8
                          |GPIO_PIN_9;
  GPIO_InitStruct.Mode = GPIO_MODE_ANALOG;
  HAL_GPIO_Init(GPIOB, &GPIO_InitStruct);

  /*Configure GPIO pins : DQXW_S_Pin Ad2_c_Pin Ad1_c_Pin */
  GPIO_InitStruct.Pin = DQXW_S_Pin|Ad2_c_Pin|Ad1_c_Pin;
  GPIO_InitStruct.Mode = GPIO_MODE_INPUT;
  GPIO_InitStruct.Pull = GPIO_NOPULL;
  HAL_GPIO_Init(GPIOE, &GPIO_InitStruct);

  /*Configure GPIO pin : EN_C_Pin */
  GPIO_InitStruct.Pin = EN_C_Pin;
  GPIO_InitStruct.Mode = GPIO_MODE_OUTPUT_PP;
  GPIO_InitStruct.Speed = GPIO_SPEED_FREQ_MEDIUM;
  HAL_GPIO_Init(EN_C_GPIO_Port, &GPIO_InitStruct);

  /*Configure GPIO pins : PD8 PD9 PD10 PD11
                           PD0 PD1 PD2 PD3
                           PD4 PD5 PD6 PD7 */
  GPIO_InitStruct.Pin = GPIO_PIN_8|GPIO_PIN_9|GPIO_PIN_10|GPIO_PIN_11
                          |GPIO_PIN_0|GPIO_PIN_1|GPIO_PIN_2|GPIO_PIN_3
                          |GPIO_PIN_4|GPIO_PIN_5|GPIO_PIN_6|GPIO_PIN_7;
  GPIO_InitStruct.Mode = GPIO_MODE_ANALOG;
  HAL_GPIO_Init(GPIOD, &GPIO_InitStruct);

  /*Configure GPIO pins : KJ_State_Pin GXDY_state_Pin NM_D_Pin DOS_D_Pin */
  GPIO_InitStruct.Pin = KJ_State_Pin|GXDY_state_Pin|NM_D_Pin|DOS_D_Pin;
  GPIO_InitStruct.Mode = GPIO_MODE_INPUT;
  GPIO_InitStruct.Pull = GPIO_NOPULL;
  HAL_GPIO_Init(GPIOD, &GPIO_InitStruct);

  /*Configure GPIO pin Output Level */
  HAL_GPIO_WritePin(GPIOC, QDQ_HY_Pin|QDQ_XH_Pin|QDQstate_Pin, GPIO_PIN_RESET);

  /*Configure GPIO pin Output Level */
  HAL_GPIO_WritePin(GPIOA, QDQ_ZC_Pin|QDQ_GZ_Pin|DCZD_Pin, GPIO_PIN_RESET);

  /*Configure GPIO pin Output Level */
  HAL_GPIO_WritePin(EN_C_GPIO_Port, EN_C_Pin, GPIO_PIN_RESET);

}

/* USER CODE BEGIN 4 */
/************************CAN发送中断回调函数****************************************/
//void HAL_CAN_TxCpltCallback(CAN_HandleTypeDef* hcan)
//{
//  if(hcan->Instance==CAN1)
//
//    switch((TxMessage1.StdId)>>6)

/************************CAN接收中断回调函数****************************************/
void HAL_CAN_RxCpltCallback(CAN_HandleTypeDef* hcan)
{

/*****************CAN1处理函数*********************************************/
    if(hcan->Instance==CAN1)
    {
        if(((((RxMessage1.StdId)>>1) & 0x000f) == 0) || ((((RxMessage1.StdId)>>1) & 0x000f) == Motor_Num))
        {
//   switch(((RxMessage1.StdId)&(FCoder_Check_Shift))>>6)
      switch((RxMessage1.StdId)>>6)
      {
      //CAN1_Send (&hcan1);
    case FCoder_Initial :                                          //初始化命令
          SYS_Order_Flag=1;
          USER_Response( &hcan1 );
     break;

    case FCoder__Init_Result :                                   //初始化结果查询

         USER_Init_Reply(&hcan1,Result_Handle);
     break;

     case FCoder_Device_On_Off  :                                          //开关机命令

         USER_Start_Stop( &hcan1 );
     break;

     case FCoder_Device_On_Off_Result  :                                          //开关机命令

         USER_Start_Stop_Result( &hcan1 );
     break;

     case FCoder_SYS_State_Query  :                                          //系统状态查询

         USER_System_State( &hcan1, System_State );
     break;

     case FCoder_Elevation_State_Result  :                                          //仰角状态查询

         USER_System_Elevation_Query( &hcan1,System_Elevation );
     break;

     case FCoder_Elevation_Set  :                                          //仰角设置
         if(((RxMessage1.StdId)&(FCoder_Check_Shift_Motor))==0x002)
    //     if(Motor_Num==ADDR_XHZY_Motor_QDQ)
         {
         USER_System_Elevation_Set( &hcan1 );
          }
     break;

     case  FCoder_HYAngle_Result :                                          //横摇角度信息查询

         USER__HY_System_Angle__Query( &hcan1 ,Gyroscope_Angle,System_Error );
     break;

     case  FCoder_XHZYAngle_Result :                                          //下滑纵摇角度信息查询

         USER_System_Angle__Query( &hcan1 ,System_Angle,System_Error );
     break;

     case  FCoder_XHHYAngle_Result  :                                          //下滑横摇角度信息查询

         USER_System_Angle__Query( &hcan1 ,System_Angle,System_Error );
     break;

     case  FCoder_Standby  :                                                   //待机保护
          SYS_Order_Flag=4;
         USER_System_Standby__Query( &hcan1 );
     break;

     case  FCoder_Cancel_Standby  :                                            //取消待机保护
          SYS_Order_Flag=5;
         USER_System_Cancel_Standby__Query( &hcan1 );
     break;

     case FCoder_WorkingMode_Set:                                          //工作模式设置
         USER_System_WorkingMode( &hcan1 );
     break;

     case FCoder_WorkingMode_Showing_Set:                                          //检视模式参数设置
         USER_System_WorkingMode_Showing_Set( &hcan1 );
     break;

     case FCoder_ZeroPosition:                                          //进入标零模式
         USER_System_ZeroPosition( &hcan1 );
     break;

     case FCoder_ZeroPosition_Exit:                                          //退出标零模式
         USER_System_ZeroPosition_Exit( &hcan1 );
     break;

     case FCoder_ZeroPosition_Set:                                          //零位旋变值及惯性单元偏转量
         USER_System_ZeroPosition_Set( &hcan1 );
     break;

     case FCoder_ZeroPosition_Average:                                          //零位旋变值及惯性单元偏转量平均值
         USER_System_ZeroPosition_Average( &hcan1 );
     break;

     case FCoder_ZeroPosition_Result:                                          //标零结果查询
         USER_System_ZeroPosition_Result( &hcan1 );
     break;

     case FCoder_ElectronicLimit_Result:                                          //电子限位角度查询
         USER_System_ElectronicLimit_Result( &hcan1 );
     break;

     case FCoder_SystemAngle_Reply:                                           //旋变角度查询
           USER_SystemAngle_Result( &hcan1 );
     break;

//     case FCoder_FlashCount_Check:                                             //写入Flash计数查询
//           USER_FlashCount_Check( &hcan1 );
//     break;

//     case FCoder_SystemHealth_Check:                                           //系统健康状态查询
//           USER_SystemHealth_Check( &hcan1 );
//     break;

     case FCoder_Dspace_PWM_OUT:                                         //接收dSPACE PWM数据
//           if(motor_B.dSpace_Init == 1)
           USER_Dspace_PWM_OUT( &hcan1 );
     break;

     case FCoder_Gyroscope_Choose:                                         //陀螺信号源选择
           USER_Gyroscope_Choose( &hcan1 );
     break;

     default:

     break;
     }
      }
 /*****************开启CAN1*********************************************/
     if (HAL_CAN_Receive_IT(&hcan1, CAN_FIFO0) != HAL_OK)
     {
        Flag_Error_Can1_R=0;
        //Error_Handler( );
     }  //开启CAN1的接收中断
     else
     {Flag_Error_Can1_R=1;}                       //默认1正常，0错误
     }
  /*****************开启CAN2********************************************/

    if(hcan->Instance==CAN2)
    {
        Can2_R1  =  1 ;
        Can2_R2  =  1 ;
        switch(Motor_Num)
        {
            case ADDR_XHZY_Motor_QDQ:
            {
                if(Gyroscope_Choose == 0)
                {
                    if(RxMessage2.StdId == 0x308)
                    {
                        USER_Gyroscope_Angle( &hcan2 );                                   //取角度
                        if(Big_T_Count == 2) USER_Gyroscope_SGWY_send(&hcan2);
                    }
                }
                else
                {
                    if(RxMessage2.StdId == 0x782)
                    {
                        USER_Gyroscope_Angle( &hcan2 );                                   //取角度
                        USER_Gyroscope_SGWY_send( &hcan2 );
//                        USER_System_Angle__Query( &hcan2 ,System_Angle,System_Error );
                    }
                }
                break;
            }
            case ADDR_XHHY_Motor_QDQ:
            {
                if(Gyroscope_Choose == 0)
                {
                    if(RxMessage2.StdId == 0x34C)
                    {
                        USER_Gyroscope_Angle( &hcan2 );                                   //取角度
                    }
                }
                else
                {
                    if(RxMessage2.StdId == 0x786)
                    {
                        USER_Gyroscope_Angle( &hcan2 );                                   //取角度
//                        USER_System_Angle__Query( &hcan2 ,System_Angle,System_Error );
                    }
                }
                USER_Gyroscope_SGWY_recive(&hcan2);
                break;
            }
            case ADDR_HY_Motor_QDQ:
            {
                if(Gyroscope_Choose == 0)
                {
                    if(RxMessage2.StdId == 0x2CA)
                    {
                        USER_Gyroscope_Angle( &hcan2 );                                   //取角度
                    }
                }
                else
                {
                    if(RxMessage2.StdId == 0x784)
                    {
                        USER_Gyroscope_Angle( &hcan2 );                                   //取角度
//                        USER_System_Angle__Query( &hcan2 ,System_Angle,System_Error );
                    }
                }
                break;
            }
        }
//      if(Gyroscope_Choose == 0)
//      {
//          if(RxMessage2.StdId==0x308||RxMessage2.StdId==0x34c||RxMessage2.StdId==0x2ca)
//          {USER_Gyroscope_Angle(&hcan2);}                      //取角度
//          if( Motor_Num == ADDR_XHZY_Motor_QDQ && RxMessage2.StdId == 0x308 && Big_T_Count == 2) USER_Gyroscope_SGWY_send(&hcan2);
//      }
//      else
//      {
//          if(RxMessage2.StdId==0x782||RxMessage2.StdId==0x784||RxMessage2.StdId==0x786)
//          {USER_Gyroscope_Angle(&hcan2);}                      //取角度
//          if( Motor_Num == ADDR_XHZY_Motor_QDQ && RxMessage2.StdId == 0x782) USER_Gyroscope_SGWY_send(&hcan2);
//      }
//      if( Motor_Num==ADDR_XHHY_Motor_QDQ)
//        {
//        USER_Gyroscope_SGWY_recive(&hcan2);
//        }
//      if( Motor_Num==ADDR_XHZY_Motor_QDQ)
//      {
//          if(Big_T_Count == 2) USER_Gyroscope_SGWY_send(&hcan2);
//      }
     if (HAL_CAN_Receive_IT(&hcan2, CAN_FIFO0) != HAL_OK)
     {
        Flag_Error_Can2_R=0;
        //Error_Handler( );
     }  //开启CAN2的接收中断
     else
     { Flag_Error_Can2_R=1;}
    }
  }

/************************串口接收中断回调函数****************************************/
void HAL_UART_RxCpltCallback(UART_HandleTypeDef *huart)
{
   /******串口数据处理*******/
 if(huart->Instance == USART3)
  {
         if(HAL_UART_Receive_IT(&huart3, RxData,8) != HAL_OK)
           { Flag_Error_Usart3_R=0;  Error_Handler( ); }  //开启USART3的接收中断
         else
           { Flag_Error_Usart3_R=1;}
         if(HAL_UART_Transmit_IT(&huart3, TxData,8) != HAL_OK)
           { Flag_Error_Usart3_T=0;  Error_Handler( ); }  //开启USART3的发送中断
         else
           { Flag_Error_Usart3_T=1;}
  }
}

/*=========================================================================
********串口中断发送中断处理函数***************
=========================================================================*/
void HAL_UART_TxCpltCallback(UART_HandleTypeDef *huart)
{

 }

/*=========================================================================
********ADC1回调函数********
=========================================================================*/
void HAL_ADC_ConvCpltCallback(ADC_HandleTypeDef* hadc)
{
  ADC_Filter(  ) ;                                            //滤波器
  HAL_ADC_Stop_DMA(&hadc1);

}
/* USER CODE END 4 */

void Error_Handler(void)
{
  while(1)
  {
  }
}

/************************ (C) COPYRIGHT STMicroelectronics *****END OF FILE****/
